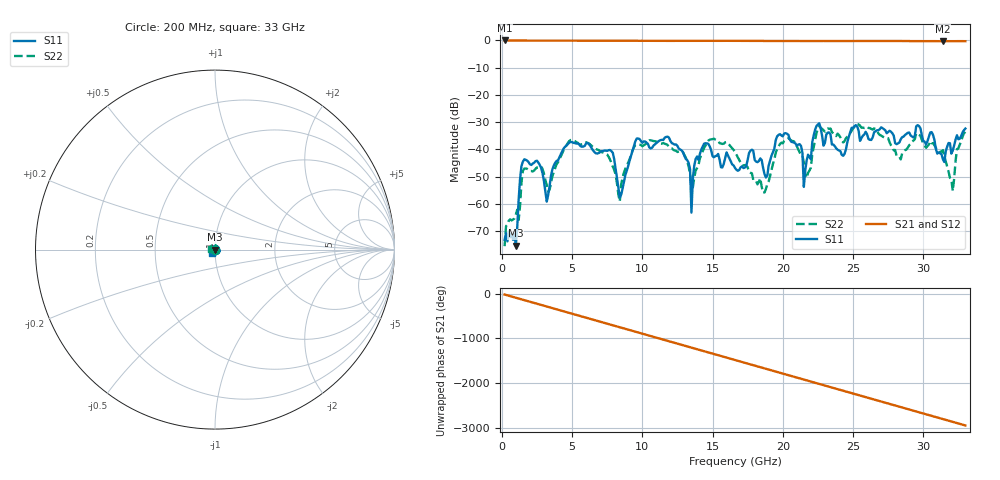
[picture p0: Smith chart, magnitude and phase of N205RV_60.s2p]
# GHZ S RI R 50
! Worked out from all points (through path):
!   329 points, 200 MHz to 33 GHz, reference 50 ohm
!   highest |S21| = -0.02 dB at 200 MHz (marker M1); lowest = -0.3 dB at 31.4 GHz (marker M2)
!   group delay of S21, straight-line fit = 248 ps
!   lowest |S11| = -75.4 dB at 1 GHz (marker M3), VSWR 1.00, Z = 50 + j0.0095 ohm
!   |S11| at or under -10 dB: start of sweep to end of sweep
!   |S22| runs from -75.5 to -30.6 dB; largest |S21 - S12| = 0.0019
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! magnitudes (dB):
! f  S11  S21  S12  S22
! 200 MHz  -73.2  0.0  0.0  -75.5
! 1 GHz  -75.4  0.0  0.0  -63.9
! 1.6 GHz  -43.6  -0.1  -0.1  -47.1
! 3.2 GHz  -59.2  -0.1  -0.1  -53.1
! 5.7 GHz  -39.0  -0.1  -0.1  -38.1
! 7.9 GHz  -41.2  -0.1  -0.1  -46.3
! 8.4 GHz  -57.6  -0.1  -0.1  -59.1
! 9.6 GHz  -36.0  -0.1  -0.1  -38.2
! 11.2 GHz  -36.8  -0.2  -0.2  -37.6
! 13.3 GHz  -44.9  -0.2  -0.2  -46.2
! 13.5 GHz  -63.2  -0.2  -0.2  -53.8
! 14.4 GHz  -37.9  -0.2  -0.2  -39.4
! 16.6 GHz  -46.8  -0.2  -0.2  -40.9
! 18.7 GHz  -49.0  -0.2  -0.2  -55.8
! 20.2 GHz  -34.0  -0.2  -0.2  -36.6
! 21.3 GHz  -38.7  -0.2  -0.2  -42.2
! 21.5 GHz  -53.8  -0.2  -0.2  -44.7
! 22.1 GHz  -37.3  -0.2  -0.2  -41.9
! 27.6 GHz  -33.2  -0.2  -0.2  -37.3
! 31.4 GHz  -43.6  -0.3  -0.3  -40.3
! 32.1 GHz  -40.4  -0.3  -0.3  -55.3
! 33 GHz  -32.3  -0.3  -0.3  -33.6
